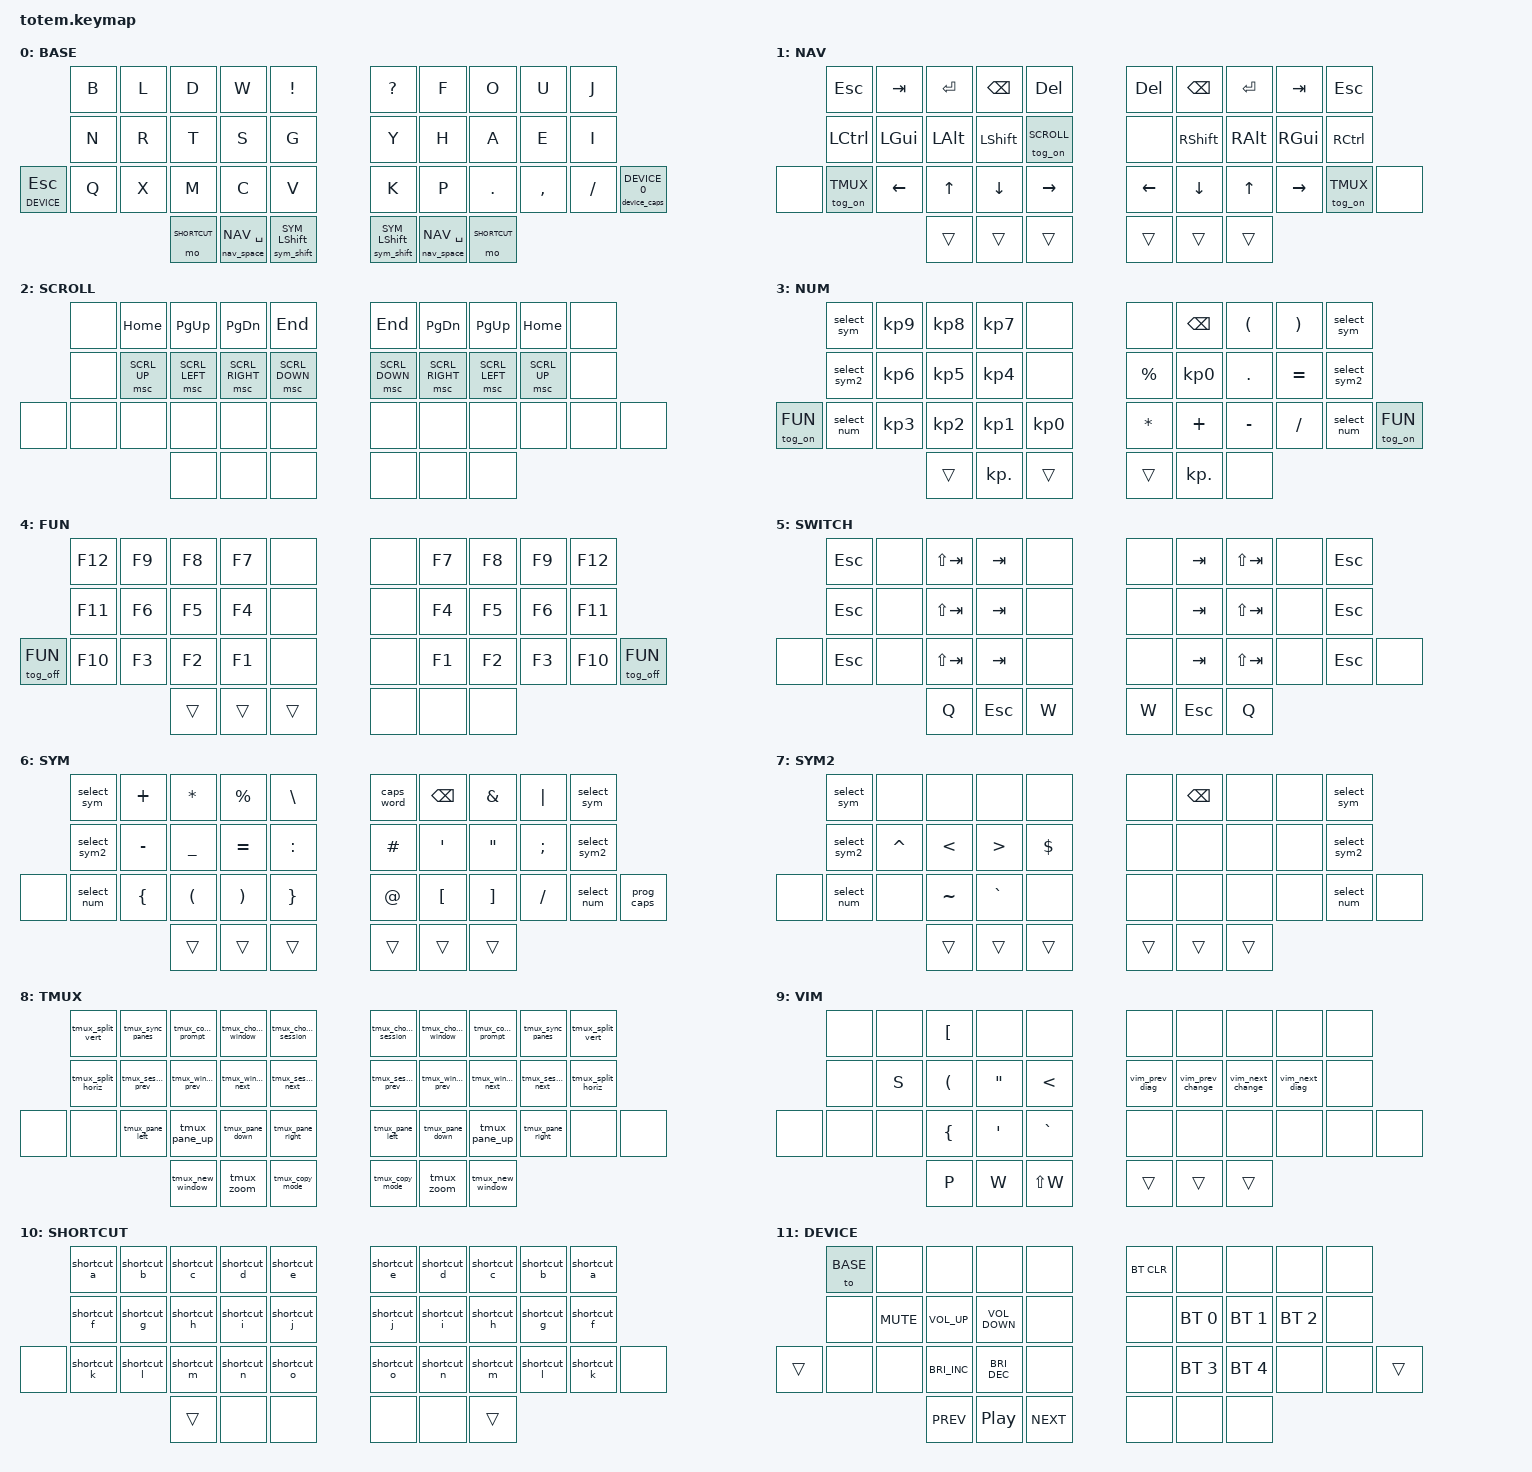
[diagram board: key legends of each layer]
//
//                                                        ▀▀▀▀▀     ▀▀▀▀▀          ▀▀█▀▀
//                                                        ▄▀▀▀▄  ▄  ▄▀▀▀▄  ▄  ▄▀▀▀▄  █  ▄▀▀▀▄
//                                                        █   █  █  █   █  █  █   █  █  █   █
//                                                         ▀▀▀   █   ▀▀▀   █   ▀▀▀   ▀   ▀▀▀
//                                                               █      ▄▄▄█▄▄▄    █   █
//                                                               ▀      █  █  █     █▄█
//                                                             ▀▀▀▀▀    █  █  █      ▀
//                                                                      ▀  ▀  ▀
//
// ▄▄▄▄▄▄▄▄▄▄▄▄▄▄▄▄▄▄▄▄▄▄▄▄▄▄▄▄▄▄▄▄▄▄▄▄▄▄▄▄▄▄▄▄▄▄▄▄▄▄▄▄▄▄▄▄▄▄▄▄▄▄▄▄▄▄▄▄▄▄▄▄▄▄▄▄▄▄▄▄▄▄▄▄▄▄▄▄▄▄▄▄▄▄▄▄▄▄▄▄▄▄▄▄▄▄▄▄▄▄▄▄▄▄▄▄▄▄▄▄▄▄▄▄▄▄▄▄▄▄▄▄▄▄▄▄▄▄▄▄▄▄▄▄▄▄▄▄▄

#include <behaviors.dtsi>
#include <behaviors/mouse_keys.dtsi>
#include <dt-bindings/zmk/bt.h>
#include <dt-bindings/zmk/keys.h>
#include <dt-bindings/zmk/reset.h>
#define ZMK_POINTING_DEFAULT_SCRL_VAL 26
#include <dt-bindings/zmk/mouse.h>

#define BASE     0
#define NAV      1
#define SCROLL   2
#define NUM      3
#define FUN      4
#define SWITCH   5
#define SYM      6
#define SYM2     7
#define TMUX     8
#define VIM      9
#define SHORTCUT 10
#define DEVICE   11

#include "behaviors.dtsi"
#include "combos.dtsi"

&caps_word {
    continue-list = <UNDERSCORE MINUS BACKSPACE DELETE>;
};

/ {
  keymap {
    compatible = "zmk,keymap";

    base {
      label = "BASE";
      bindings = <
                &kp B  &kp L  &kp D         &kp W                 &kp EXCL                   /**/  &kp QUESTION               &kp F                 &kp O         &kp U      &kp J
                &kp N  &kp R  &kp T         &kp S                 &kp G                      /**/  &kp Y                      &kp H                 &kp A         &kp E      &kp I
&lt DEVICE ESC  &kp Q  &kp X  &kp M         &kp C                 &kp V                      /**/  &kp K                      &kp P                 &kp DOT       &kp COMMA  &kp FSLH  &device_caps DEVICE 0
                              &mo SHORTCUT  &nav_space NAV SPACE  &sym_shift SYM LEFT_SHIFT  /**/  &sym_shift SYM LEFT_SHIFT  &nav_space NAV SPACE  &mo SHORTCUT
      >;
    };

    nav {
      label = "NAV";
      bindings = <
        &kp ESC       &kp TAB   &kp ENTER  &kp BACKSPACE  &kp DEL         /**/  &kp DEL   &kp BACKSPACE  &kp ENTER  &kp TAB    &kp ESC
        &kp LCTRL     &kp LGUI  &kp LALT   &kp LSHFT      &tog_on SCROLL  /**/  &none     &kp RSHFT      &kp RALT   &kp RGUI   &kp RCTRL
 &none  &tog_on TMUX  &kp LEFT  &kp UP     &kp DOWN       &kp RIGHT       /**/  &kp LEFT  &kp DOWN       &kp UP     &kp RIGHT  &tog_on TMUX  &none
                                &trans     &trans         &trans          /**/  &trans    &trans         &trans
      >;
    };

    scroll {
      label = "SCROLL";
      bindings = <
        &none  &kp HOME      &kp PAGE_UP     &kp PAGE_DOWN    &kp END         /**/  &kp END         &kp PAGE_DOWN    &kp PAGE_UP     &kp HOME      &none
        &none  &msc SCRL_UP  &msc SCRL_LEFT  &msc SCRL_RIGHT  &msc SCRL_DOWN  /**/  &msc SCRL_DOWN  &msc SCRL_RIGHT  &msc SCRL_LEFT  &msc SCRL_UP  &none
 &none  &none  &none         &none           &none            &none           /**/  &none           &none            &none           &none         &none  &none
                             &none           &none            &none           /**/  &none           &none            &none
      >;
    };

    num {
      label = "NUM";
      bindings = <
             &select_sym   &kp KP_N9  &kp KP_N8  &kp KP_N7   &none      /**/  &none      &kp BACKSPACE  &kp LPAR   &kp RPAR   &select_sym
             &select_sym2  &kp KP_N6  &kp KP_N5  &kp KP_N4   &none      /**/  &kp PRCNT  &kp KP_N0      &kp DOT    &kp EQUAL  &select_sym2
&tog_on FUN  &select_num   &kp KP_N3  &kp KP_N2  &kp KP_N1   &kp KP_N0  /**/  &kp ASTRK  &kp PLUS       &kp MINUS  &kp FSLH   &select_num   &tog_on FUN
                                      &trans     &kp KP_DOT  &trans     /**/  &trans     &kp KP_DOT     &none
      >;
    };

    fun {
      label = "FUN";
      bindings = <
              &kp F12  &kp F9  &kp F8  &kp F7  &none   /**/  &none  &kp F7  &kp F8  &kp F9  &kp F12
              &kp F11  &kp F6  &kp F5  &kp F4  &none   /**/  &none  &kp F4  &kp F5  &kp F6  &kp F11
&tog_off FUN  &kp F10  &kp F3  &kp F2  &kp F1  &none   /**/  &none  &kp F1  &kp F2  &kp F3  &kp F10  &tog_off FUN
                               &trans  &trans  &trans  /**/  &none  &none   &none
      >;
    };

    switch_layer {
      label = "SWITCH";
      bindings = <
        &kp ESC  &none  &kp LS(TAB)  &kp TAB  &none  /**/  &none  &kp TAB  &kp LS(TAB)  &none  &kp ESC
        &kp ESC  &none  &kp LS(TAB)  &kp TAB  &none  /**/  &none  &kp TAB  &kp LS(TAB)  &none  &kp ESC
 &none  &kp ESC  &none  &kp LS(TAB)  &kp TAB  &none  /**/  &none  &kp TAB  &kp LS(TAB)  &none  &kp ESC  &none
                        &kp Q        &kp ESC  &kp W  /**/  &kp W  &kp ESC  &kp Q
      >;
    };

    sym {
      label = "SYM";
      bindings = <
        &select_sym   &kp PLUS   &kp ASTRK  &kp PRCNT  &kp BSLH   /**/  &caps_word  &kp BACKSPACE  &kp AMPS  &kp PIPE  &select_sym
        &select_sym2  &kp MINUS  &kp UNDER  &kp EQUAL  &kp COLON  /**/  &kp HASH    &kp SQT        &kp DQT   &kp SEMI  &select_sym2
 &none  &select_num   &kp LBRC   &kp LPAR   &kp RPAR   &kp RBRC   /**/  &kp AT      &kp LBKT       &kp RBKT  &kp FSLH  &select_num   &prog_caps
                                 &trans     &trans     &trans     /**/  &trans      &trans         &trans
      >;
    };

    sym2 {
      label = "SYM2";
      bindings = <
        &select_sym   &none      &none      &none      &none     /**/  &none   &kp BACKSPACE  &none   &none  &select_sym
        &select_sym2  &kp CARET  &kp LT     &kp GT     &kp DLLR  /**/  &none   &none          &none   &none  &select_sym2
 &none  &select_num   &none      &kp TILDE  &kp GRAVE  &none     /**/  &none   &none          &none   &none  &select_num   &none
                                 &trans     &trans     &trans    /**/  &trans  &trans         &trans
      >;
    };

    tmux {
      label = "TMUX";
      bindings = <
        &tmux_split_vert   &tmux_sync_panes    &tmux_command_prompt  &tmux_choose_window  &tmux_choose_session  /**/  &tmux_choose_session  &tmux_choose_window  &tmux_command_prompt  &tmux_sync_panes    &tmux_split_vert
        &tmux_split_horiz  &tmux_session_prev  &tmux_window_prev     &tmux_window_next    &tmux_session_next    /**/  &tmux_session_prev    &tmux_window_prev    &tmux_window_next     &tmux_session_next  &tmux_split_horiz
 &none  &none              &tmux_pane_left     &tmux_pane_up         &tmux_pane_down      &tmux_pane_right      /**/  &tmux_pane_left       &tmux_pane_down      &tmux_pane_up         &tmux_pane_right    &none              &none
                                               &tmux_new_window      &tmux_zoom           &tmux_copy_mode       /**/  &tmux_copy_mode       &tmux_zoom           &tmux_new_window
      >;
    };

    vim {
      label = "VIM";
      bindings = <
        &none  &none  &kp LBKT  &none    &none      /**/  &none           &none             &none             &none           &none
        &none  &kp S  &kp LPAR  &kp DQT  &kp LT     /**/  &vim_prev_diag  &vim_prev_change  &vim_next_change  &vim_next_diag  &none
 &none  &none  &none  &kp LBRC  &kp SQT  &kp GRAVE  /**/  &none           &none             &none             &none           &none  &none
                      &kp P     &kp W    &kp LS(W)  /**/  &trans          &trans            &trans
      >;
    };

    shortcut {
      label = "SHORTCUT";
      bindings = <
        &shortcut_a  &shortcut_b  &shortcut_c  &shortcut_d  &shortcut_e  /**/  &shortcut_e  &shortcut_d  &shortcut_c  &shortcut_b  &shortcut_a
        &shortcut_f  &shortcut_g  &shortcut_h  &shortcut_i  &shortcut_j  /**/  &shortcut_j  &shortcut_i  &shortcut_h  &shortcut_g  &shortcut_f
 &none  &shortcut_k  &shortcut_l  &shortcut_m  &shortcut_n  &shortcut_o  /**/  &shortcut_o  &shortcut_n  &shortcut_m  &shortcut_l  &shortcut_k  &none
                                  &trans       &none        &none        /**/  &none        &none        &trans
      >;
    };

    device {
      label = "DEVICE";
      bindings = <
        &to BASE  &none       &none                 &none                 &none       /**/  &bt BT_CLR  &none         &none         &none         &none
        &none     &kp C_MUTE  &kp C_VOLUME_UP       &kp C_VOLUME_DOWN     &none       /**/  &none       &bt BT_SEL 0  &bt BT_SEL 1  &bt BT_SEL 2  &none
&trans  &none     &none       &kp C_BRIGHTNESS_INC  &kp C_BRIGHTNESS_DEC  &none       /**/  &none       &bt BT_SEL 3  &bt BT_SEL 4  &none         &none  &trans
                              &kp C_PREV            &kp C_PLAY_PAUSE      &kp C_NEXT  /**/  &none       &none         &none
      >;
    };

  };

    /*
    conditional_layers {
        compatible = "zmk,conditional-layers";
        device {
            if-layers = <NAV NUM>;
            then-layer = <DEVICE>;
        };
    };
    */
};
